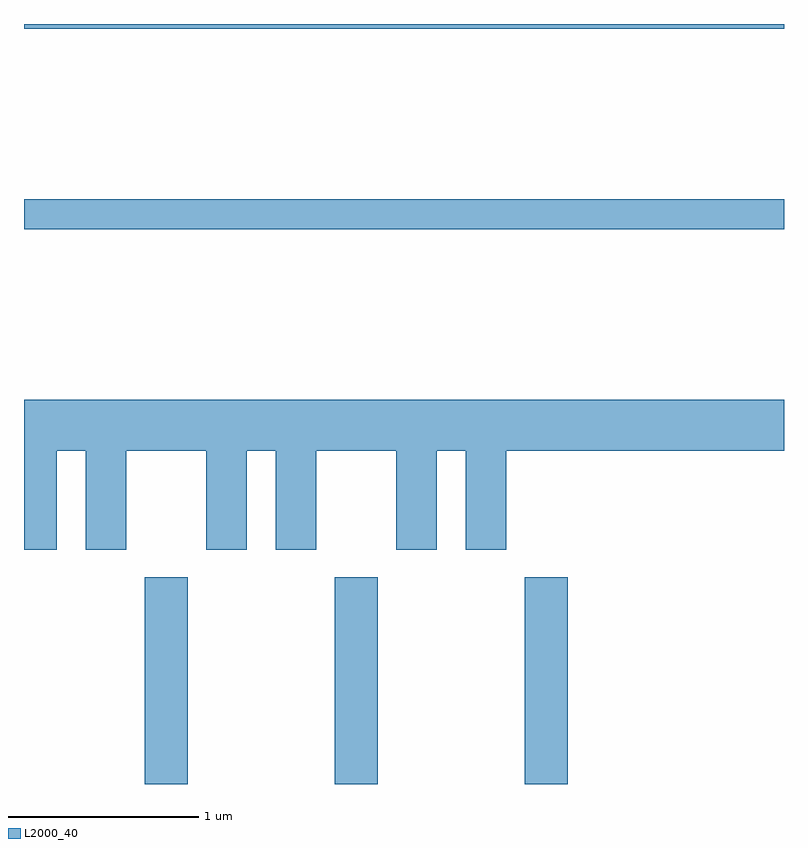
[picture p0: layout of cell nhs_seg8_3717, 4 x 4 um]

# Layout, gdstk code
import gdstk
lib = gdstk.Library(unit=1e-6, precision=1e-09)
def R(c, l, rs):  # rectangles x0, y0, x1, y1
    for r in rs: c.add(gdstk.rectangle(r[:2], r[2:], *l))
def A(c, l, x, y, w, h, nx, ny, dx, dy):  # array of equal rectangles
    R(c, l, [(x+i*dx, y+j*dy, x+i*dx+w, y+j*dy+h) for i in range(nx) for j in range(ny)])
def P(c, l, *ps):  # polygons
    for p in ps: c.add(gdstk.Polygon(p, *l))
L2000_40 = (2000, 40)

nhs_seg8_3717 = lib.new_cell('nhs_seg8_3717')
A(nhs_seg8_3717, L2000_40, 296.246, 1932.342, 0.228, 1.087, 3, 1, 1, 0)
R(nhs_seg8_3717, L2000_40, [(295.611,1935.261,299.611,1935.419), (295.611,1936.316,299.611,1936.342)])
P(nhs_seg8_3717, L2000_40, [(295.611,1933.576),(295.784,1933.576),(295.784,1934.096),(295.936,1934.096),(295.936,1933.576),(296.149,1933.576),(296.149,1934.096),(296.571,1934.096),(296.571,1933.576),(296.784,1933.576),(296.784,1934.096),(296.936,1934.096),(296.936,1933.576),(297.149,1933.576),(297.149,1934.096),(297.571,1934.096),(297.571,1933.576),(297.784,1933.576),(297.784,1934.096),(297.936,1934.096),(297.936,1933.576),(298.149,1933.576),(298.149,1934.096),(299.611,1934.096),(299.611,1934.364),(295.611,1934.364)])

lib.write_gds('nhs_seg8_3717.gds')
